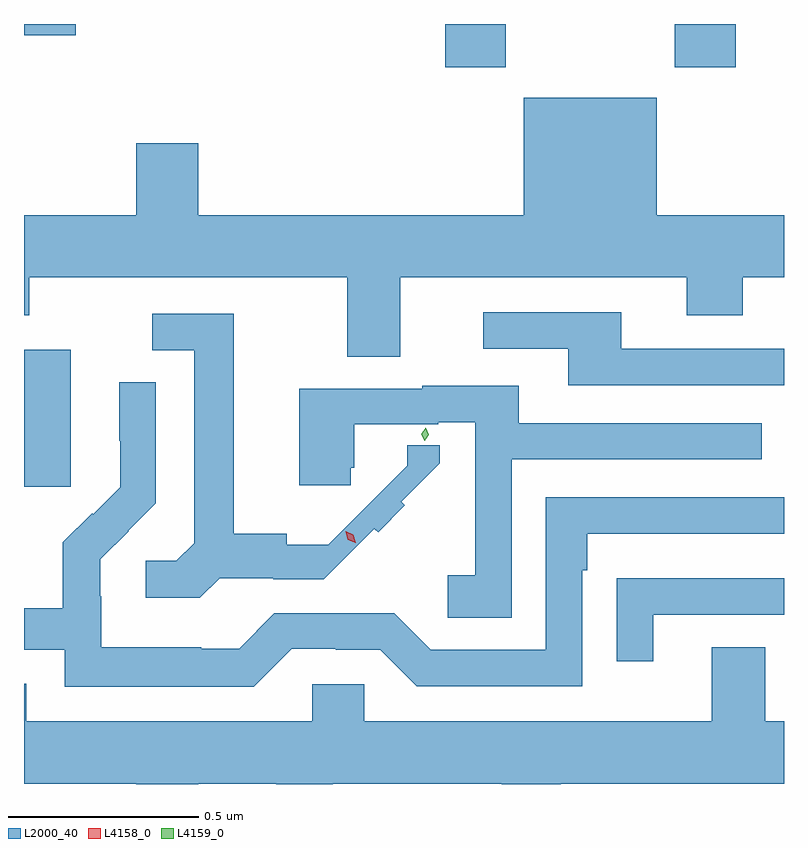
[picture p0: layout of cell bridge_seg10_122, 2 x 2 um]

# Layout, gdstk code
import gdstk
lib = gdstk.Library(unit=1e-6, precision=1e-09)
def R(c, l, rs):  # rectangles x0, y0, x1, y1
    for r in rs: c.add(gdstk.rectangle(r[:2], r[2:], *l))
def P(c, l, *ps):  # polygons
    for p in ps: c.add(gdstk.Polygon(p, *l))
L2000_40 = (2000, 40)
L4158_0 = (4158, 0)
L4159_0 = (4159, 0)

bridge_seg10_122 = lib.new_cell('bridge_seg10_122')
R(bridge_seg10_122, L2000_40, [(392.485,1263.801,392.608,1264.162), (393.593,1264.905,393.753,1265.019), (394.198,1264.905,394.358,1265.019), (392.485,1264.989,392.621,1265.019)])
P(bridge_seg10_122, L2000_40, [(393.475,1264.352),(394.229,1264.352),(394.229,1264.253),(394.377,1264.253),(394.377,1264.352),(394.485,1264.352),(394.485,1264.516),(394.15,1264.516),(394.15,1264.825),(393.8,1264.825),(393.8,1264.516),(392.944,1264.516),(392.944,1264.705),(392.78,1264.705),(392.78,1264.516),(392.485,1264.516),(392.485,1264.253),(392.499,1264.253),(392.499,1264.352),(393.335,1264.352),(393.335,1264.144),(393.475,1264.144)],
  [(394.485,1264.164),(394.057,1264.164),(394.057,1264.26),(393.693,1264.26),(393.693,1264.164),(393.917,1264.164),(393.917,1264.068),(394.485,1264.068)],
  [(393,1263.561),(393.141,1263.561),(393.141,1263.558),(393.274,1263.558),(393.407,1263.691),(393.417,1263.682),(393.487,1263.752),(393.478,1263.762),(393.579,1263.863),(393.579,1263.911),(393.494,1263.911),(393.494,1263.856),(393.286,1263.648),(393.177,1263.648),(393.177,1263.677),(393.037,1263.677),(393.037,1264.257),(392.823,1264.257),(392.823,1264.161),(392.933,1264.161),(392.933,1263.653),(392.886,1263.606),(392.805,1263.606),(392.805,1263.509),(392.948,1263.509)],
  [(393.189,1263.375),(393.305,1263.375),(393.305,1263.372),(393.423,1263.372),(393.519,1263.276),(393.954,1263.276),(393.954,1263.581),(393.967,1263.581),(393.967,1263.678),(394.485,1263.678),(394.485,1263.774),(393.858,1263.774),(393.858,1263.372),(393.555,1263.372),(393.459,1263.468),(393.144,1263.468),(393.051,1263.375),(392.951,1263.375),(392.951,1263.379),(392.688,1263.379),(392.688,1263.513),(392.686,1263.513),(392.686,1263.61),(392.76,1263.684),(392.759,1263.685),(392.832,1263.758),(392.832,1264.076),(392.736,1264.076),(392.736,1263.922),(392.738,1263.922),(392.738,1263.8),(392.667,1263.729),(392.664,1263.732),(392.587,1263.655),(392.587,1263.481),(392.485,1263.481),(392.485,1263.372),(392.592,1263.372),(392.592,1263.275),(393.089,1263.275)],
  [(393.768,1263.873),(394.427,1263.873),(394.427,1263.969),(393.787,1263.969),(393.787,1264.067),(393.533,1264.067),(393.533,1264.059),(393.209,1264.059),(393.209,1263.805),(393.345,1263.805),(393.345,1263.851),(393.354,1263.851),(393.354,1263.966),(393.575,1263.966),(393.575,1263.971),(393.672,1263.971),(393.672,1263.568),(393.6,1263.568),(393.6,1263.457),(393.768,1263.457)],
  [(394.141,1263.465),(394.485,1263.465),(394.485,1263.561),(394.147,1263.561),(394.147,1263.56),(394.045,1263.56),(394.045,1263.342),(394.141,1263.342)],
  [(392.944,1263.02),(393.149,1263.02),(393.149,1263.019),(393.297,1263.019),(393.297,1263.02),(393.742,1263.02),(393.742,1263.019),(393.897,1263.019),(393.897,1263.02),(394.485,1263.02),(394.485,1263.184),(394.435,1263.184),(394.435,1263.379),(394.295,1263.379),(394.295,1263.184),(393.381,1263.184),(393.381,1263.282),(393.243,1263.282),(393.243,1263.184),(392.491,1263.184),(392.491,1263.283),(392.485,1263.283),(392.485,1263.02),(392.78,1263.02),(392.78,1263.019),(392.944,1263.019)])
P(bridge_seg10_122, L4158_0, [(393.357,1263.654),(393.337,1263.662),(393.332,1263.683),(393.332,1263.684),(393.332,1263.684),(393.352,1263.675),(393.358,1263.654),(393.358,1263.654)])
P(bridge_seg10_122, L4159_0, [(393.539,1263.922),(393.539,1263.922),(393.53,1263.94),(393.542,1263.956),(393.542,1263.956),(393.542,1263.956),(393.55,1263.938),(393.539,1263.922)])

lib.write_gds('bridge_seg10_122.gds')
